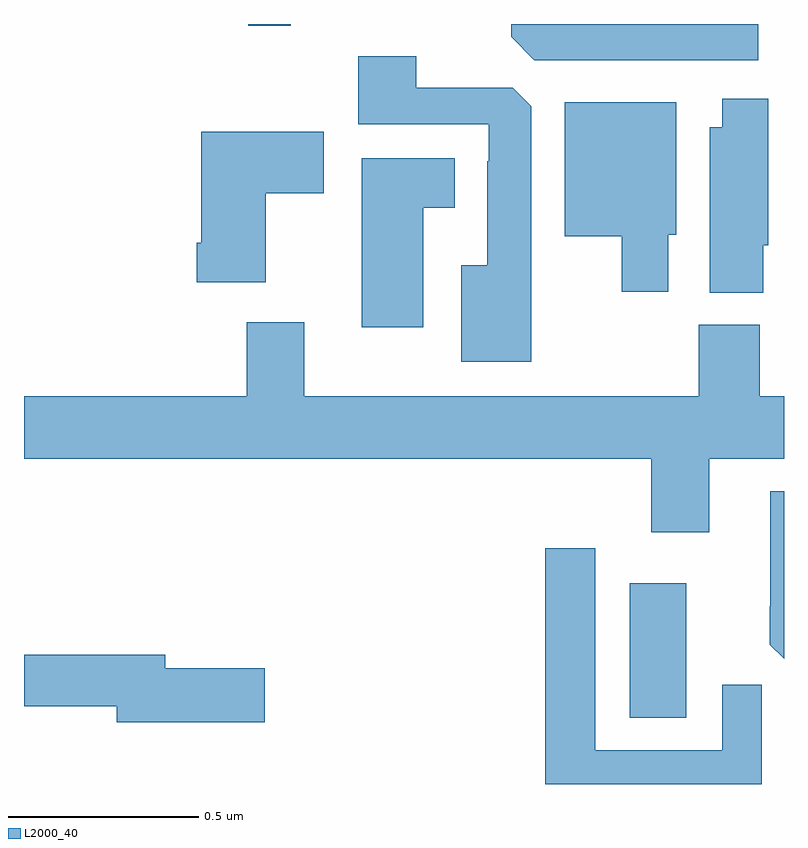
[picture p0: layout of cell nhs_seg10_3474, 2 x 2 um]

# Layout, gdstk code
import gdstk
lib = gdstk.Library(unit=1e-6, precision=1e-09)
def R(c, l, rs):  # rectangles x0, y0, x1, y1
    for r in rs: c.add(gdstk.rectangle(r[:2], r[2:], *l))
def P(c, l, *ps):  # polygons
    for p in ps: c.add(gdstk.Polygon(p, *l))
L2000_40 = (2000, 40)

nhs_seg10_3474 = lib.new_cell('nhs_seg10_3474')
R(nhs_seg10_3474, L2000_40, [(155.594,1259.674,155.743,1260.028), (154.59,1261.495,154.702,1261.5)])
P(nhs_seg10_3474, L2000_40, [(155.932,1261.5),(155.282,1261.5),(155.282,1261.466),(155.343,1261.404),(155.932,1261.404)],
  [(155.335,1261.283),(155.286,1261.332),(155.032,1261.332),(155.032,1261.415),(154.88,1261.415),(154.88,1261.236),(155.223,1261.236),(155.223,1261.139),(155.219,1261.139),(155.219,1260.865),(155.15,1260.865),(155.15,1260.611),(155.335,1260.611)],
  [(155.946,1260.918),(155.959,1260.918),(155.959,1261.303),(155.837,1261.303),(155.837,1261.228),(155.804,1261.228),(155.804,1260.793),(155.946,1260.793)],
  [(155.695,1260.945),(155.716,1260.945),(155.716,1261.294),(155.423,1261.294),(155.423,1260.941),(155.573,1260.941),(155.573,1260.795),(155.695,1260.795)],
  [(154.636,1261.054),(154.789,1261.054),(154.789,1261.216),(154.466,1261.216),(154.466,1260.925),(154.454,1260.925),(154.454,1260.821),(154.636,1260.821)],
  [(155.05,1261.016),(155.134,1261.016),(155.134,1261.147),(154.889,1261.147),(154.889,1260.702),(155.05,1260.702)],
  [(155.803,1260.356),(156,1260.356),(156,1260.52),(155.936,1260.52),(155.936,1260.708),(155.776,1260.708),(155.776,1260.52),(154.738,1260.52),(154.738,1260.715),(154.586,1260.715),(154.586,1260.52),(154,1260.52),(154,1260.356),(155.651,1260.356),(155.651,1260.162),(155.803,1260.162)],
  [(156,1260.271),(155.964,1260.271),(155.964,1259.968),(155.963,1259.968),(155.963,1259.866),(156,1259.829)],
  [(155.941,1259.761),(155.837,1259.761),(155.837,1259.589),(155.503,1259.589),(155.503,1260.121),(155.372,1260.121),(155.372,1259.5),(155.941,1259.5)],
  [(154.633,1259.804),(154.372,1259.804),(154.372,1259.84),(154,1259.84),(154,1259.704),(154.244,1259.704),(154.244,1259.662),(154.633,1259.662)])

lib.write_gds('nhs_seg10_3474.gds')
